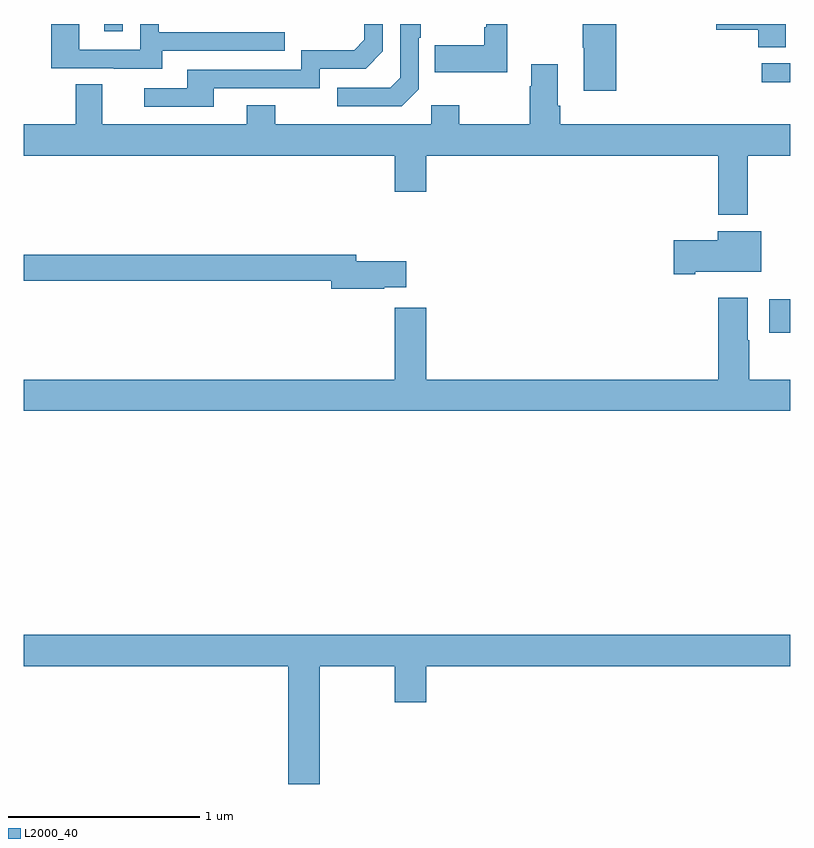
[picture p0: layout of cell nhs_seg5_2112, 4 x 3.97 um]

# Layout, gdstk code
import gdstk
lib = gdstk.Library(unit=1e-6, precision=1e-09)
def R(c, l, rs):  # rectangles x0, y0, x1, y1
    for r in rs: c.add(gdstk.rectangle(r[:2], r[2:], *l))
def P(c, l, *ps):  # polygons
    for p in ps: c.add(gdstk.Polygon(p, *l))
L2000_40 = (2000, 40)

nhs_seg5_2112 = lib.new_cell('nhs_seg5_2112')
R(nhs_seg5_2112, L2000_40, [(238.889,837.188,239,837.364), (238.851,838.495,239,838.593), (235.421,838.761,235.518,838.799)])
P(nhs_seg5_2112, L2000_40, [(238.975,838.799),(238.614,838.799),(238.614,838.769),(238.832,838.769),(238.832,838.678),(238.975,838.678)],
  [(237.06,838.458),(237.06,838.727),(237.073,838.727),(237.073,838.799),(236.964,838.799),(236.964,838.518),(236.913,838.467),(236.637,838.467),(236.637,838.371),(236.973,838.371)],
  [(238.091,838.799),(237.916,838.799),(237.916,838.675),(237.923,838.675),(237.923,838.452),(238.091,838.452)],
  [(235.993,838.464),(236.544,838.464),(236.544,838.566),(236.784,838.566),(236.874,838.656),(236.874,838.799),(236.778,838.799),(236.778,838.716),(236.725,838.663),(236.448,838.663),(236.448,838.56),(235.853,838.56),(235.853,838.464),(235.629,838.464),(235.629,838.368),(235.993,838.368)],
  [(237.523,838.799),(237.414,838.799),(237.414,838.783),(237.402,838.783),(237.402,838.687),(237.145,838.687),(237.145,838.547),(237.523,838.547)],
  [(235.723,838.659),(236.363,838.659),(236.363,838.755),(235.704,838.755),(235.704,838.799),(235.608,838.799),(235.608,838.665),(235.29,838.665),(235.29,838.799),(235.145,838.799),(235.145,838.569),(235.469,838.569),(235.469,838.565),(235.723,838.565)],
  [(238.777,838.112),(239,838.112),(239,838.276),(237.8,838.276),(237.8,838.372),(237.787,838.372),(237.787,838.588),(237.647,838.588),(237.647,838.475),(237.64,838.475),(237.64,838.276),(237.273,838.276),(237.273,838.375),(237.126,838.375),(237.126,838.276),(236.313,838.276),(236.313,838.375),(236.165,838.375),(236.165,838.276),(235.411,838.276),(235.411,838.484),(235.271,838.484),(235.271,838.276),(235,838.276),(235,838.112),(236.936,838.112),(236.936,837.924),(237.1,837.924),(237.1,838.112),(238.625,838.112),(238.625,837.803),(238.777,837.803)],
  [(238.504,837.506),(238.849,837.506),(238.849,837.718),(238.622,837.718),(238.622,837.672),(238.392,837.672),(238.392,837.494),(238.504,837.494)],
  [(236.882,837.425),(236.995,837.425),(236.995,837.56),(236.734,837.56),(236.734,837.596),(235,837.596),(235,837.46),(236.606,837.46),(236.606,837.418),(236.882,837.418)],
  [(239,836.944),(238.785,836.944),(238.785,837.149),(238.777,837.149),(238.777,837.37),(238.625,837.37),(238.625,836.944),(237.1,836.944),(237.1,837.319),(236.936,837.319),(236.936,836.944),(235,836.944),(235,836.78),(239,836.78)],
  [(236.545,835.448),(236.936,835.448),(236.936,835.26),(237.1,835.26),(237.1,835.448),(239,835.448),(239,835.612),(235,835.612),(235,835.448),(236.381,835.448),(236.381,834.834),(236.545,834.834)])

lib.write_gds('nhs_seg5_2112.gds')
